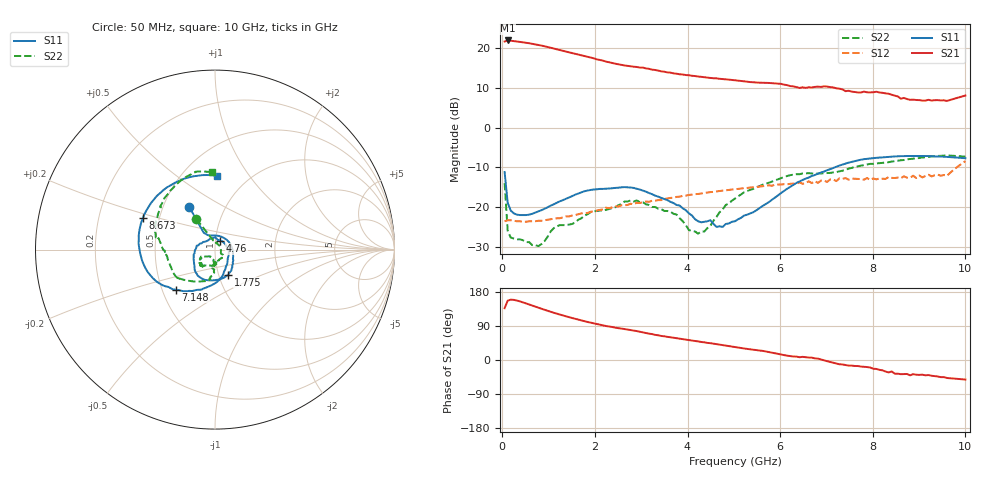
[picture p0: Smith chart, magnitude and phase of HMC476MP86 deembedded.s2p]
!Hittite Microwave Corporation
!12 Elizabeth Drive
!Chelmsford, MA 01824
!Tel: 978-250-3343
!Fax: 978-250-3373
!Device: HMC476MP86, DC-6 GHz, SiGe HBT Gain Block MMIC Amplifier in Micro-P package
!Misc: Vs = 5V, Room
# MHZ S MA R 50
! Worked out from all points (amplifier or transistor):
!   151 points, 50 MHz to 10 GHz, reference 50 ohm
!   highest |S21| = 22.0 dB at 116.3 MHz (marker M1)
!   |S21| within 3 dB of that: start of sweep to 1.443 GHz
!   unconditionally stable (mu >= 1): 64.11 MHz to 6.58 GHz
!   at 1.708 GHz: K = 1.05, MAG = 18.5 dB, |S12| = -21.6 dB
!   at 5.025 GHz: K = 1.07, MAG = 12.1 dB, |S12| = -15.5 dB
!   at 10 GHz: K = 0.86, MSG = 8.3 dB, |S12| = -8.4 dB
!   S11 on the Smith chart (normalised r, x): 50 MHz: 0.68, +0.35; 1.775 GHz: 1.11, -0.32; 4.76 GHz: 1.05, +0.10; 7.148 GHz: 0.59, -0.29; 8.673 GHz: 0.41, +0.18; 10 GHz: 0.72, +0.71
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50  0.276 121.1  12.25 136.9  0.066 -42.2  0.2 121.3
116.333  0.113 123.8  12.63 156.5  0.068 -17.6  0.05 100.0
182.667  0.09 116.2  12.54 159.2  0.068 -10.1  0.041 79.7
249  0.083 108.5  12.4 158.6  0.067 -5.8  0.04 75.4
448  0.079 85.1  11.95 152.1  0.065 2.2  0.038 83.7
713.333  0.085 40.8  11.27 140.8  0.066 8.3  0.033 28.7
978.667  0.099 -2.3  10.46 129.8  0.069 13.6  0.042 -35.0
1310.333  0.122 -35.9  9.358 117.5  0.074 18.8  0.059 -42.1
1774.667  0.158 -62.0  8.008 102.4  0.084 23.8  0.078 -93.0
2239  0.17 -88.2  6.837 89.7  0.098 25.1  0.092 -102.6
3366.667  0.135 -150.8  5.265 65.2  0.122 24.2  0.095 -146.7
4229  0.066 132.4  4.428 49.1  0.146 20.9  0.046 -122.4
4759.667  0.056 59.8  4.117 39.2  0.161 17.5  0.093 -92.5
5025  0.066 16.3  3.971 34.2  0.167 15.4  0.128 -91.9
6152.667  0.17 -81.7  3.447 11.4  0.193 5.5  0.246 -137.6
6749.667  0.253 -116.3  3.275 4.3  0.212 2.1  0.264 -156.1
7147.667  0.311 -134.1  3.226 -7.0  0.222 -1.7  0.273 -174.1
7413  0.353 -145.8  2.892 -13.4  0.231 -6.9  0.294 178.2
8341.667  0.429 171.6  2.685 -32.8  0.239 -12.6  0.367 151.2
8673.333  0.438 156.3  2.378 -37.1  0.244 -17.4  0.391 139.0
9270.333  0.438 127.5  2.202 -41.5  0.243 -21.7  0.434 113.9
10000  0.412 88.8  2.549 -51.6  0.379 -29.6  0.431 92.4
